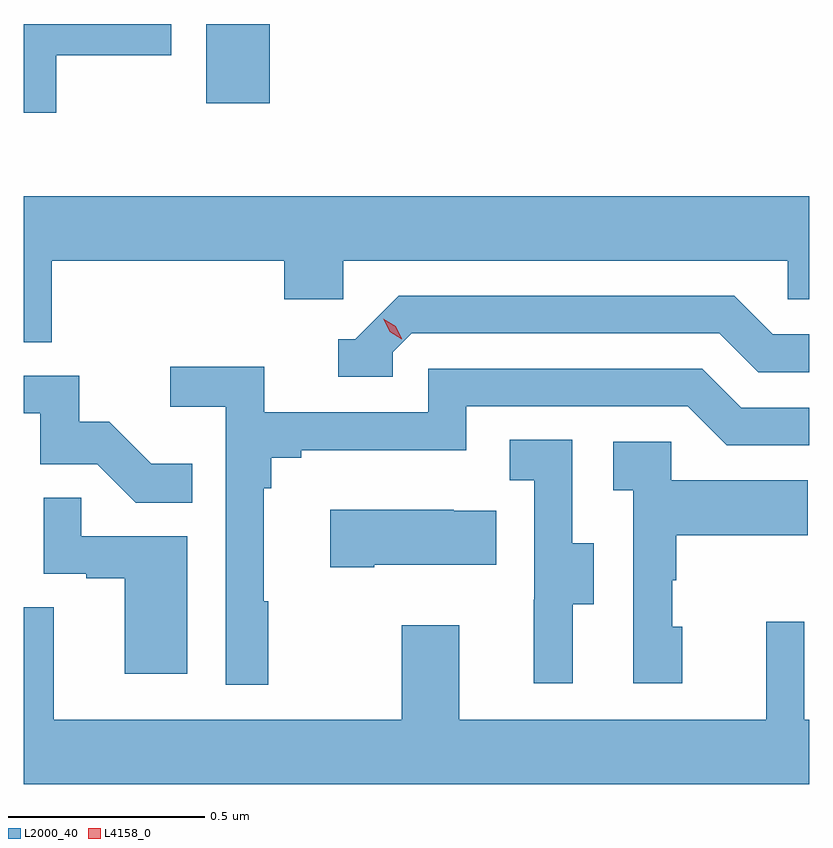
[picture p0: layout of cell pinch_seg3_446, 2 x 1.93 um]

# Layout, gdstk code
import gdstk
lib = gdstk.Library(unit=1e-6, precision=1e-09)
def R(c, l, rs):  # rectangles x0, y0, x1, y1
    for r in rs: c.add(gdstk.rectangle(r[:2], r[2:], *l))
def P(c, l, *ps):  # polygons
    for p in ps: c.add(gdstk.Polygon(p, *l))
L2000_40 = (2000, 40)
L4158_0 = (4158, 0)

pinch_seg3_446 = lib.new_cell('pinch_seg3_446')
R(pinch_seg3_446, L2000_40, [(927.677,685.332,927.838,685.534)])
P(pinch_seg3_446, L2000_40, [(927.295,685.455),(927.588,685.455),(927.588,685.534),(927.212,685.534),(927.212,685.308),(927.295,685.308)],
  [(927.284,684.932),(927.875,684.932),(927.875,684.834),(928.026,684.834),(928.026,684.932),(929.157,684.932),(929.157,684.834),(929.212,684.834),(929.212,685.096),(927.212,685.096),(927.212,684.724),(927.284,684.724)],
  [(928.152,684.699),(928.2,684.747),(928.983,684.747),(929.082,684.648),(929.212,684.648),(929.212,684.744),(929.119,684.744),(929.02,684.843),(928.167,684.843),(928.056,684.732),(928.013,684.732),(928.013,684.636),(928.152,684.636)],
  [(927.835,684.065),(927.823,684.065),(927.823,684.353),(927.842,684.353),(927.842,684.43),(927.919,684.43),(927.919,684.449),(928.338,684.449),(928.338,684.561),(928.902,684.561),(929.001,684.462),(929.212,684.462),(929.212,684.558),(929.038,684.558),(928.939,684.657),(928.242,684.657),(928.242,684.546),(927.824,684.546),(927.824,684.662),(927.585,684.662),(927.585,684.56),(927.726,684.56),(927.726,683.853),(927.835,683.853)],
  [(927.641,684.415),(927.537,684.415),(927.43,684.522),(927.354,684.522),(927.354,684.639),(927.212,684.639),(927.212,684.543),(927.255,684.543),(927.255,684.414),(927.399,684.414),(927.497,684.316),(927.641,684.316)],
  [(928.609,684.058),(928.663,684.058),(928.663,684.213),(928.608,684.213),(928.608,684.476),(928.449,684.476),(928.449,684.373),(928.512,684.373),(928.512,684.069),(928.511,684.069),(928.511,683.856),(928.609,683.856)],
  [(928.888,684),(928.863,684),(928.863,684.119),(928.873,684.119),(928.873,684.233),(929.207,684.233),(929.207,684.373),(928.86,684.373),(928.86,684.471),(928.713,684.471),(928.713,684.347),(928.764,684.347),(928.764,683.856),(928.888,683.856)],
  [(927.628,684.231),(927.359,684.231),(927.359,684.329),(927.264,684.329),(927.264,684.135),(927.371,684.135),(927.371,684.123),(927.47,684.123),(927.47,683.88),(927.628,683.88)],
  [(928.105,684.158),(928.415,684.158),(928.415,684.295),(928.307,684.295),(928.307,684.298),(927.993,684.298),(927.993,684.151),(928.105,684.151)],
  [(929.212,683.764),(929.199,683.764),(929.199,684.013),(929.102,684.013),(929.102,683.764),(928.321,683.764),(928.321,684.004),(928.174,684.004),(928.174,683.764),(927.289,683.764),(927.289,684.05),(927.212,684.05),(927.212,683.6),(929.212,683.6)])
P(pinch_seg3_446, L4158_0, [(928.175,684.732),(928.144,684.751),(928.128,684.784),(928.128,684.784),(928.128,684.784),(928.159,684.765),(928.175,684.733),(928.175,684.732)])

lib.write_gds('pinch_seg3_446.gds')
